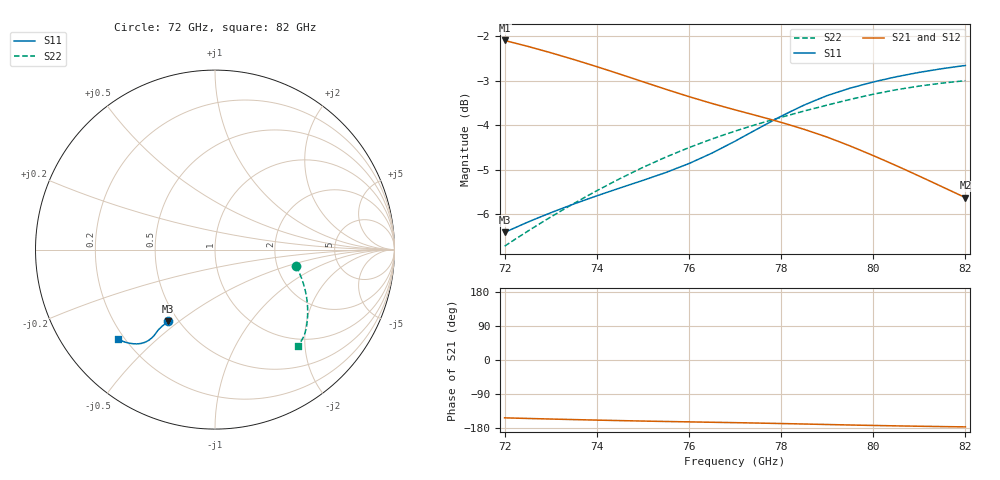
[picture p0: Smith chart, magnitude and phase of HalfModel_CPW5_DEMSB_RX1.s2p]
! Touchstone file exported from Circuit Design 2020.2.4
!  File:  F:/ArifRoni/Projects/RXS/RXS8161PLA/Electric/04_Simulation/HalfModel_CPW.aedt
!  Generated:  5:08:50  Feb 12, 2021
!  Design:  CPW5_ckt1
!  Project:  HalfModel_CPW
!  Setup:  LinearFrequency
!  Solution:  LinearFrequency
! Variables:
!  nonRFDIE = 1000000ohm
!  nonRFPCB = 10ohm
# GHZ S MA R 50.000000
! Terminal data exported
! Port[1] = DIE_RX1
! Port[2] = PCB_RX1
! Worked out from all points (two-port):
!   101 points, 72 GHz to 82 GHz, reference 50 ohm
!   highest |S21| = -2.10 dB at 72 GHz (marker M1); lowest = -5.6 dB at 82 GHz (marker M2)
!   |S21| within 3 dB of the highest: start of sweep to 80.91 GHz
!   lowest |S11| = -6.4 dB at 72 GHz (marker M3), VSWR 2.83, Z = 21.9 - j22.7 ohm
!   |S11| at or under -10 dB: nowhere
!   |S22| runs from -6.7 to -3.0 dB; largest |S21 - S12| = 1.3e-14
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72  0.4784 -123.6  0.7853 -152.7  0.7853 -152.7  0.4618 -11.6
72.5  0.4913 -123.8  0.7735 -154.2  0.7735 -154.2  0.4799 -14.3
72.9  0.5009 -124.1  0.7634 -155.5  0.7634 -155.5  0.4943 -16.4
73.4  0.5125 -124.4  0.7503 -156.9  0.7503 -156.9  0.512 -18.9
73.7  0.5192 -124.6  0.7422 -157.8  0.7422 -157.8  0.5224 -20.3
74.5  0.5365 -125.0  0.72 -159.9  0.72 -159.9  0.5496 -24.1
75  0.5472 -125.2  0.706 -161.1  0.706 -161.1  0.5658 -26.3
75.4  0.5562 -125.3  0.695 -162.0  0.695 -162.0  0.5781 -27.9
76  0.5715 -125.3  0.6794 -163.3  0.6794 -163.3  0.5955 -30.3
76.5  0.5871 -125.3  0.6675 -164.3  0.6675 -164.3  0.609 -32.1
77  0.6054 -125.6  0.6565 -165.3  0.6565 -165.3  0.6215 -33.8
77.5  0.6255 -126.1  0.6462 -166.4  0.6462 -166.4  0.6331 -35.4
78  0.6457 -127.0  0.6357 -167.7  0.6357 -167.7  0.644 -36.9
78.5  0.6647 -128.2  0.6243 -168.9  0.6243 -168.9  0.6545 -38.4
78.7  0.6713 -128.7  0.6194 -169.5  0.6194 -169.5  0.6586 -39.0
79  0.6812 -129.5  0.6119 -170.2  0.6119 -170.2  0.6646 -39.8
79.5  0.6944 -130.9  0.5981 -171.5  0.5981 -171.5  0.6745 -41.3
80  0.7055 -132.3  0.5834 -172.7  0.5834 -172.7  0.6836 -42.8
80.4  0.7132 -133.4  0.5714 -173.6  0.5714 -173.6  0.6899 -44.1
81  0.7233 -134.9  0.5533 -174.8  0.5533 -174.8  0.6981 -46.1
81.5  0.7303 -136.2  0.5381 -175.7  0.5381 -175.7  0.7034 -47.7
82  0.7362 -137.3  0.5234 -176.5  0.5234 -176.5  0.7079 -49.4
